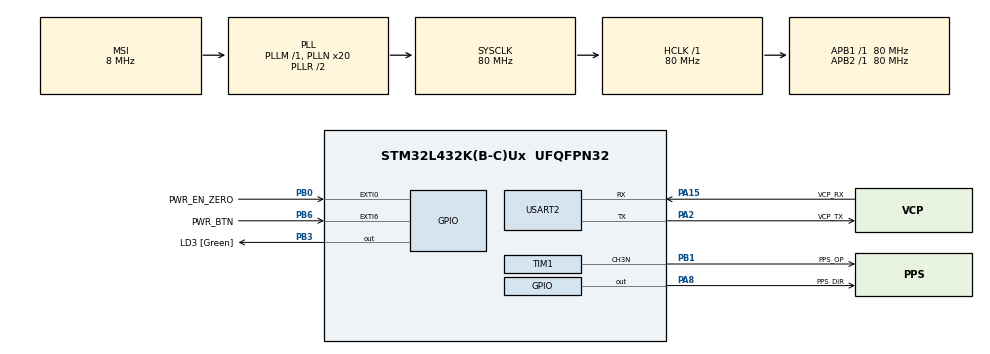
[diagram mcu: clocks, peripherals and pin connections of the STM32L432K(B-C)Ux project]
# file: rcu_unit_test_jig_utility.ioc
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Mcu.Family=STM32L4
Mcu.Name=STM32L432K(B-C)Ux
Mcu.Package=UFQFPN32
NVIC.EXTI0_IRQn=true\:0\:0\:false\:false\:true\:true\:true
NVIC.EXTI9_5_IRQn=true\:0\:0\:false\:false\:true\:true\:true
NVIC.PriorityGroup=NVIC_PRIORITYGROUP_4
NVIC.TIM1_UP_TIM16_IRQn=true\:0\:0\:false\:false\:true\:true\:true
PA0.GPIO_Label=MCO [High speed clock in]
PA0.Signal=RCC_CK_IN
PA13\ (JTMS-SWDIO).GPIO_Label=SWDIO
PA13\ (JTMS-SWDIO).Mode=Serial_Wire
PA13\ (JTMS-SWDIO).Signal=SYS_JTMS-SWDIO
PA14\ (JTCK-SWCLK).GPIO_Label=SWCLK
PA14\ (JTCK-SWCLK).Mode=Serial_Wire
PA14\ (JTCK-SWCLK).Signal=SYS_JTCK-SWCLK
PA15\ (JTDI).GPIO_Label=VCP_RX
PA15\ (JTDI).Mode=Asynchronous
PA15\ (JTDI).Signal=USART2_RX
PA2.GPIO_Label=VCP_TX
PA2.Mode=Asynchronous
PA2.Signal=USART2_TX
PA8.GPIO_Label=PPS_DIR
PA8.PinState=GPIO_PIN_SET
PA8.Signal=GPIO_Output
PB0.GPIO_Label=PWR_EN_ZERO
PB0.GPIO_ModeDefaultEXTI=GPIO_MODE_IT_RISING_FALLING
PB0.Signal=GPXTI0
PB1.GPIO_Label=PPS_OP
PB1.Mode=PWM Generation3 CH3N
PB1.Signal=TIM1_CH3N
PB3\ (JTDO-TRACESWO).GPIO_Label=LD3 [Green]
PB3\ (JTDO-TRACESWO).Signal=GPIO_Output
PB6.GPIO_Label=PWR_BTN
PB6.GPIO_ModeDefaultEXTI=GPIO_MODE_IT_RISING_FALLING
PB6.Signal=GPXTI6
PC14-OSC32_IN\ (PC14).Mode=LSE-External-Oscillator
PC14-OSC32_IN\ (PC14).Signal=RCC_OSC32_IN
PC15-OSC32_OUT\ (PC15).Mode=LSE-External-Oscillator
PC15-OSC32_OUT\ (PC15).Signal=RCC_OSC32_OUT
ProjectManager.HeapSize=0x200
ProjectManager.StackSize=0x400
ProjectManager.TargetToolchain=STM32CubeIDE
RCC.ADCFreq_Value=32000000
RCC.AHBFreq_Value=80000000
RCC.APB1Freq_Value=80000000
RCC.APB1TimFreq_Value=80000000
RCC.APB2Freq_Value=80000000
RCC.APB2TimFreq_Value=80000000
RCC.CortexFreq_Value=80000000
RCC.HCLKFreq_Value=80000000
RCC.HSE_VALUE=8000000
RCC.HSI16_VALUE=16000000
RCC.HSI48_VALUE=48000000
RCC.HSI_VALUE=16000000
RCC.MSIClockRange=RCC_MSIRANGE_7
RCC.MSI_VALUE=8000000
RCC.PLLMUL=RCC_PLLMUL_4
RCC.PLLN=20
RCC.SYSCLKFreq_VALUE=80000000
RCC.SYSCLKSource=RCC_SYSCLKSOURCE_PLLCLK
RCC.USBFreq_Value=32000000
RCC.VCOOutputFreq_Value=160000000
TIM1.AutoReloadPreload=TIM_AUTORELOAD_PRELOAD_DISABLE
TIM1.Channel-PWM\ Generation3\ CH3N=TIM_CHANNEL_3
TIM1.OCFastMode_PWM-PWM\ Generation3\ CH3N=TIM_OCFAST_ENABLE
TIM1.OCMode_PWM-PWM\ Generation3\ CH3N=TIM_OCMODE_PWM1
TIM1.OCNIdleState_3=TIM_OCNIDLESTATE_RESET
TIM1.OCNPolarity_3=TIM_OCNPOLARITY_HIGH
TIM1.Period=10000
TIM1.Prescaler=8000
TIM1.Pulse-PWM\ Generation3\ CH3N=100
TIM1.TIM_MasterOutputTrigger=TIM_TRGO_RESET
USART2.VirtualMode-Asynchronous=VM_ASYNC
VP_TIM1_VS_ClockSourceINT.Mode=Internal
board=NUCLEO-L432KC

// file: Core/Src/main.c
/* USER CODE BEGIN Header */
/**
  ******************************************************************************
  * @file           : main.c
  * @brief          : Main program body
  ******************************************************************************
  * @attention
  *
  * <h2><center>&copy; Copyright (c) 2020 STMicroelectronics.
  * All rights reserved.</center></h2>
  *
  * This software component is licensed by ST under BSD 3-Clause license,
  * the "License"; You may not use this file except in compliance with the
  * License. You may obtain a copy of the License at:
  *                        opensource.org/licenses/BSD-3-Clause
  *
  ******************************************************************************
  */
/* USER CODE END Header */
#include "main.h"

/* USER CODE BEGIN Includes */
#include <stdio.h>
#include "version.h"
/* USER CODE END Includes */

/* USER CODE BEGIN PD */
#define CLS             	"[2J"          /* Clear screen */
#define HOME                "[H"           /* Move cursor to top corner */
/* USER CODE END PD */

TIM_HandleTypeDef htim1;

UART_HandleTypeDef huart2;

/* USER CODE BEGIN PV */
volatile int16_t g_button_changed = 0;
/* USER CODE END PV */

void SystemClock_Config(void);
static void MX_GPIO_Init(void);
static void MX_TIM1_Init(void);
static void MX_USART2_UART_Init(void);
/* USER CODE BEGIN PFP */
void Print_Button_State(void);
/* USER CODE END PFP */

int main(void)
{

  /* MCU Configuration--------------------------------------------------------*/

  /* Reset of all peripherals, Initializes the Flash interface and the Systick. */
  HAL_Init();

  /* Configure the system clock */
  SystemClock_Config();

  /* Initialize all configured peripherals */
  MX_GPIO_Init();
  MX_TIM1_Init();
  MX_USART2_UART_Init();
  /* USER CODE BEGIN 2 */
  HAL_GPIO_WritePin(PPS_DIR_GPIO_Port, PPS_DIR_Pin, GPIO_PIN_SET);
  HAL_TIMEx_PWMN_Start_IT(&htim1, TIM_CHANNEL_3);
  __HAL_TIM_ENABLE_IT(&htim1, TIM_IT_UPDATE);
  Print_Button_State();
  /* USER CODE END 2 */

  /* Infinite loop */
  while (1)
  {

    /* USER CODE BEGIN 3 */
	if (g_button_changed)
	{
		Print_Button_State();
	    g_button_changed = 0;
	}
  }
  /* USER CODE END 3 */
}

void SystemClock_Config(void)
{
  RCC_OscInitTypeDef RCC_OscInitStruct = {0};
  RCC_ClkInitTypeDef RCC_ClkInitStruct = {0};
  RCC_PeriphCLKInitTypeDef PeriphClkInit = {0};

  /** Configure LSE Drive Capability
  */
  HAL_PWR_EnableBkUpAccess();
  __HAL_RCC_LSEDRIVE_CONFIG(RCC_LSEDRIVE_LOW);
  /** Initializes the RCC Oscillators according to the specified parameters
  * in the RCC_OscInitTypeDef structure.
  */
  RCC_OscInitStruct.OscillatorType = RCC_OSCILLATORTYPE_LSE|RCC_OSCILLATORTYPE_MSI;
  RCC_OscInitStruct.LSEState = RCC_LSE_ON;
  RCC_OscInitStruct.MSIState = RCC_MSI_ON;
  RCC_OscInitStruct.MSICalibrationValue = 0;
  RCC_OscInitStruct.MSIClockRange = RCC_MSIRANGE_7;
  RCC_OscInitStruct.PLL.PLLState = RCC_PLL_ON;
  RCC_OscInitStruct.PLL.PLLSource = RCC_PLLSOURCE_MSI;
  RCC_OscInitStruct.PLL.PLLM = 1;
  RCC_OscInitStruct.PLL.PLLN = 20;
  RCC_OscInitStruct.PLL.PLLP = RCC_PLLP_DIV7;
  RCC_OscInitStruct.PLL.PLLQ = RCC_PLLQ_DIV2;
  RCC_OscInitStruct.PLL.PLLR = RCC_PLLR_DIV2;
  if (HAL_RCC_OscConfig(&RCC_OscInitStruct) != HAL_OK)
  {
    Error_Handler();
  }
  /** Initializes the CPU, AHB and APB buses clocks
  */
  RCC_ClkInitStruct.ClockType = RCC_CLOCKTYPE_HCLK|RCC_CLOCKTYPE_SYSCLK
                              |RCC_CLOCKTYPE_PCLK1|RCC_CLOCKTYPE_PCLK2;
  RCC_ClkInitStruct.SYSCLKSource = RCC_SYSCLKSOURCE_PLLCLK;
  RCC_ClkInitStruct.AHBCLKDivider = RCC_SYSCLK_DIV1;
  RCC_ClkInitStruct.APB1CLKDivider = RCC_HCLK_DIV1;
  RCC_ClkInitStruct.APB2CLKDivider = RCC_HCLK_DIV1;

  if (HAL_RCC_ClockConfig(&RCC_ClkInitStruct, FLASH_LATENCY_4) != HAL_OK)
  {
    Error_Handler();
  }
  PeriphClkInit.PeriphClockSelection = RCC_PERIPHCLK_USART2;
  PeriphClkInit.Usart2ClockSelection = RCC_USART2CLKSOURCE_PCLK1;
  if (HAL_RCCEx_PeriphCLKConfig(&PeriphClkInit) != HAL_OK)
  {
    Error_Handler();
  }
  /** Configure the main internal regulator output voltage
  */
  if (HAL_PWREx_ControlVoltageScaling(PWR_REGULATOR_VOLTAGE_SCALE1) != HAL_OK)
  {
    Error_Handler();
  }
  /** Enable MSI Auto calibration
  */
  HAL_RCCEx_EnableMSIPLLMode();
}

static void MX_TIM1_Init(void)
{

  TIM_ClockConfigTypeDef sClockSourceConfig = {0};
  TIM_MasterConfigTypeDef sMasterConfig = {0};
  TIM_OC_InitTypeDef sConfigOC = {0};
  TIM_BreakDeadTimeConfigTypeDef sBreakDeadTimeConfig = {0};

  htim1.Instance = TIM1;
  htim1.Init.Prescaler = 8000;
  htim1.Init.CounterMode = TIM_COUNTERMODE_UP;
  htim1.Init.Period = 10000;
  htim1.Init.ClockDivision = TIM_CLOCKDIVISION_DIV1;
  htim1.Init.RepetitionCounter = 0;
  htim1.Init.AutoReloadPreload = TIM_AUTORELOAD_PRELOAD_DISABLE;
  if (HAL_TIM_Base_Init(&htim1) != HAL_OK)
  {
    Error_Handler();
  }
  sClockSourceConfig.ClockSource = TIM_CLOCKSOURCE_INTERNAL;
  if (HAL_TIM_ConfigClockSource(&htim1, &sClockSourceConfig) != HAL_OK)
  {
    Error_Handler();
  }
  if (HAL_TIM_PWM_Init(&htim1) != HAL_OK)
  {
    Error_Handler();
  }
  sMasterConfig.MasterOutputTrigger = TIM_TRGO_RESET;
  sMasterConfig.MasterOutputTrigger2 = TIM_TRGO2_RESET;
  sMasterConfig.MasterSlaveMode = TIM_MASTERSLAVEMODE_DISABLE;
  if (HAL_TIMEx_MasterConfigSynchronization(&htim1, &sMasterConfig) != HAL_OK)
  {
    Error_Handler();
  }
  sConfigOC.OCMode = TIM_OCMODE_PWM1;
  sConfigOC.Pulse = 100;
  sConfigOC.OCPolarity = TIM_OCPOLARITY_HIGH;
  sConfigOC.OCNPolarity = TIM_OCNPOLARITY_HIGH;
  sConfigOC.OCFastMode = TIM_OCFAST_ENABLE;
  sConfigOC.OCIdleState = TIM_OCIDLESTATE_RESET;
  sConfigOC.OCNIdleState = TIM_OCNIDLESTATE_RESET;
  if (HAL_TIM_PWM_ConfigChannel(&htim1, &sConfigOC, TIM_CHANNEL_3) != HAL_OK)
  {
    Error_Handler();
  }
  sBreakDeadTimeConfig.OffStateRunMode = TIM_OSSR_DISABLE;
  sBreakDeadTimeConfig.OffStateIDLEMode = TIM_OSSI_DISABLE;
  sBreakDeadTimeConfig.LockLevel = TIM_LOCKLEVEL_OFF;
  sBreakDeadTimeConfig.DeadTime = 0;
  sBreakDeadTimeConfig.BreakState = TIM_BREAK_DISABLE;
  sBreakDeadTimeConfig.BreakPolarity = TIM_BREAKPOLARITY_HIGH;
  sBreakDeadTimeConfig.BreakFilter = 0;
  sBreakDeadTimeConfig.Break2State = TIM_BREAK2_DISABLE;
  sBreakDeadTimeConfig.Break2Polarity = TIM_BREAK2POLARITY_HIGH;
  sBreakDeadTimeConfig.Break2Filter = 0;
  sBreakDeadTimeConfig.AutomaticOutput = TIM_AUTOMATICOUTPUT_DISABLE;
  if (HAL_TIMEx_ConfigBreakDeadTime(&htim1, &sBreakDeadTimeConfig) != HAL_OK)
  {
    Error_Handler();
  }
  HAL_TIM_MspPostInit(&htim1);

}

static void MX_USART2_UART_Init(void)
{

  huart2.Instance = USART2;
  huart2.Init.BaudRate = 115200;
  huart2.Init.WordLength = UART_WORDLENGTH_8B;
  huart2.Init.StopBits = UART_STOPBITS_1;
  huart2.Init.Parity = UART_PARITY_NONE;
  huart2.Init.Mode = UART_MODE_TX_RX;
  huart2.Init.HwFlowCtl = UART_HWCONTROL_NONE;
  huart2.Init.OverSampling = UART_OVERSAMPLING_16;
  huart2.Init.OneBitSampling = UART_ONE_BIT_SAMPLE_DISABLE;
  huart2.AdvancedInit.AdvFeatureInit = UART_ADVFEATURE_NO_INIT;
  if (HAL_UART_Init(&huart2) != HAL_OK)
  {
    Error_Handler();
  }

}

static void MX_GPIO_Init(void)
{
  GPIO_InitTypeDef GPIO_InitStruct = {0};

  /* GPIO Ports Clock Enable */
  __HAL_RCC_GPIOC_CLK_ENABLE();
  __HAL_RCC_GPIOA_CLK_ENABLE();
  __HAL_RCC_GPIOB_CLK_ENABLE();

  /*Configure GPIO pin Output Level */
  HAL_GPIO_WritePin(PPS_DIR_GPIO_Port, PPS_DIR_Pin, GPIO_PIN_SET);

  /*Configure GPIO pin Output Level */
  HAL_GPIO_WritePin(LD3_GPIO_Port, LD3_Pin, GPIO_PIN_RESET);

  /*Configure GPIO pins : PWR_EN_ZERO_Pin PWR_BTN_Pin */
  GPIO_InitStruct.Pin = PWR_EN_ZERO_Pin|PWR_BTN_Pin;
  GPIO_InitStruct.Mode = GPIO_MODE_IT_RISING_FALLING;
  GPIO_InitStruct.Pull = GPIO_NOPULL;
  HAL_GPIO_Init(GPIOB, &GPIO_InitStruct);

  /*Configure GPIO pin : PPS_DIR_Pin */
  GPIO_InitStruct.Pin = PPS_DIR_Pin;
  GPIO_InitStruct.Mode = GPIO_MODE_OUTPUT_PP;
  GPIO_InitStruct.Pull = GPIO_NOPULL;
  GPIO_InitStruct.Speed = GPIO_SPEED_FREQ_LOW;
  HAL_GPIO_Init(PPS_DIR_GPIO_Port, &GPIO_InitStruct);

  /*Configure GPIO pin : LD3_Pin */
  GPIO_InitStruct.Pin = LD3_Pin;
  GPIO_InitStruct.Mode = GPIO_MODE_OUTPUT_PP;
  GPIO_InitStruct.Pull = GPIO_NOPULL;
  GPIO_InitStruct.Speed = GPIO_SPEED_FREQ_LOW;
  HAL_GPIO_Init(LD3_GPIO_Port, &GPIO_InitStruct);

  /* EXTI interrupt init*/
  HAL_NVIC_SetPriority(EXTI0_IRQn, 0, 0);
  HAL_NVIC_EnableIRQ(EXTI0_IRQn);

  HAL_NVIC_SetPriority(EXTI9_5_IRQn, 0, 0);
  HAL_NVIC_EnableIRQ(EXTI9_5_IRQn);

}

/* USER CODE BEGIN 4 */
void Print_Button_State(void)
{
	printf("%s%s", CLS, HOME);
	printf("%s %s - V%d.%d.%d\n", SW_PART_NO, SW_NAME, SW_VERSION_MAJOR, SW_VERSION_MINOR, SW_VERSION_BUILD);
	printf("%d - PWR_BTN\n", HAL_GPIO_ReadPin(PWR_BTN_GPIO_Port, PWR_BTN_Pin));
	printf("%d - PWR_EN_ZERO\n", HAL_GPIO_ReadPin(PWR_EN_ZERO_GPIO_Port, PWR_EN_ZERO_Pin));
}

void __io_putchar(uint8_t ch)
{
	HAL_UART_Transmit(&huart2, &ch, 1, 1);
}

void HAL_GPIO_EXTI_Callback(uint16_t GPIO_Pin)
{
	if ((GPIO_Pin == PWR_BTN_Pin) || (GPIO_Pin == PWR_EN_ZERO_Pin))
	{
		g_button_changed = 1;
	}
}
/* USER CODE END 4 */

void Error_Handler(void)
{
}

/************************ (C) COPYRIGHT STMicroelectronics *****END OF FILE****/
